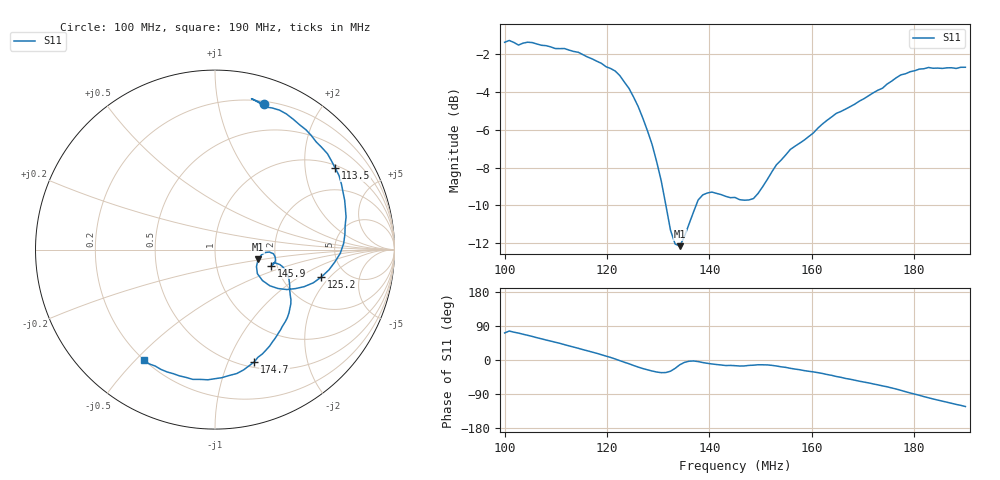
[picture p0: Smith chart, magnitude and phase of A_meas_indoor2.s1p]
!File created by NanoVNA-F V2
# Hz S RI R 50
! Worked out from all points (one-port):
!   101 points, 100 MHz to 190 MHz, reference 50 ohm
!   lowest |S11| = -12.2 dB at 134.2 MHz (marker M1), VSWR 1.65, Z = 80.9 - j9.35 ohm
!   |S11| at or under -10 dB: 131.5 MHz to 137.4 MHz (5.914 MHz wide, 4.4 % of centre)
!   S11 on the Smith chart (normalised r, x): 100 MHz: 0.23, +1.37; 113.5 MHz: 1.10, +2.89; 125.2 MHz: 3.30, -1.61; 145.9 MHz: 1.87, -0.37; 174.7 MHz: 0.56, -1.25; 190 MHz: 0.20, -0.53
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1e8  0.2732 0.8106
1.009e8  0.2033 0.841
1.054e8  0.3981 0.7556
1.117e8  0.6264 0.5345
1.135e8  0.6705 0.4527
1.153e8  0.7045 0.3646
1.189e8  0.7302 0.1818
1.225e8  0.6979 -0.021
1.252e8  0.5925 -0.1529
1.27e8  0.4969 -0.2065
1.297e8  0.3509 -0.2167
1.306e8  0.3059 -0.2018
1.324e8  0.236 -0.1342
1.333e8  0.2311 -0.0941
1.342e8  0.2401 -0.0543
1.36e8  0.2809 -0.016
1.387e8  0.3344 -0.0395
1.45e8  0.3203 -0.0857
1.459e8  0.3146 -0.0896
1.486e8  0.3199 -0.078
1.513e8  0.3605 -0.083
1.567e8  0.4144 -0.1838
1.621e8  0.4224 -0.3027
1.675e8  0.3651 -0.4473
1.747e8  0.2195 -0.6254
1.792e8  0.0382 -0.7137
1.828e8  -0.1238 -0.723
1.9e8  -0.3978 -0.6175
